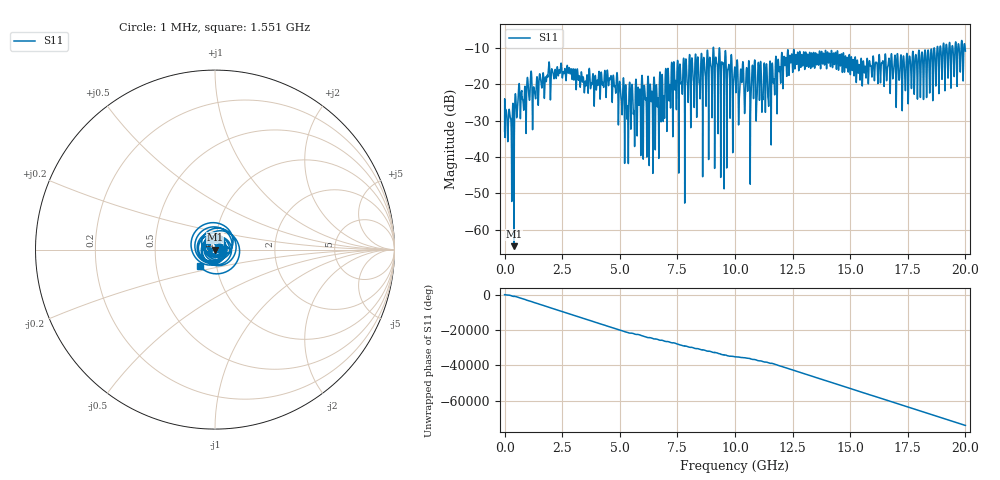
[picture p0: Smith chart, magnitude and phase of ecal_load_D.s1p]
! MS46122B
! 2250307/22442219
! 6/15/2025 10:56:45 AM
! C:\USERS\SPARKY\DOCUMENTS\VNA_DATA\JUNE15_2025\295K\ECAL_LOAD_D.S1P
! CHANNEL.1
! TR.MEASUREMENT
! RAW.DATA
# GHZ S RI R 50.0
! FREQ.GHZ  S11RE  S11IM
!; PortSelection: Port_1
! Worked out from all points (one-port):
!   10001 points, 1 MHz to 20 GHz, reference 50 ohm
!   lowest |S11| = -64.5 dB at 413 MHz (marker M1), VSWR 1.00, Z = 50 + j0.0529 ohm
!   |S11| at or under -10 dB: start of sweep to 9.055 GHz; 9.071 GHz to 9.32 GHz (249.3 MHz wide, 2.71 % of centre); 9.328 GHz to 18.64 GHz (9.314 GHz wide, 66.6 % of centre) (the widest 3 of 14)
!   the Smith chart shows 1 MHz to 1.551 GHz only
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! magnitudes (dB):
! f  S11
! 1 MHz  -32.9
! 333 MHz  -30.1
! 413 MHz  -64.5
! 551 MHz  -27.4
! 857 MHz  -23.2
! 1.075 GHz  -24.3
! 1.285 GHz  -21.5
! 1.863 GHz  -17.6
! 2.501 GHz  -18.1
! 3.813 GHz  -18.4
! 4.535 GHz  -18.9
! 5.001 GHz  -19.3
! 5.293 GHz  -26.6
! 5.485 GHz  -30.8
! 5.563 GHz  -23.5
! 6.031 GHz  -27.0
! 6.095 GHz  -22.9
! 6.299 GHz  -22.6
! 6.615 GHz  -23.8
! 7.061 GHz  -21.1
! 7.501 GHz  -13.8
! 9.129 GHz  -20.4
! 10 GHz  -15.2
! 11.49 GHz  -16.4
! 12.5 GHz  -16.4
! 15 GHz  -16.9
! 17.5 GHz  -17.3
! 20 GHz  -10.9
